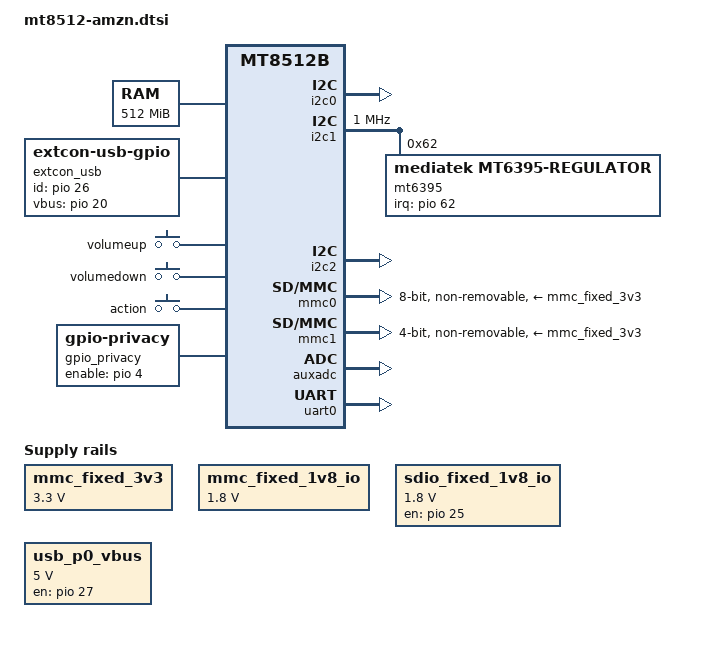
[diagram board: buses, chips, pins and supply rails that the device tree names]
/*
 * Copyright (C) 2019 Amazon.com
 *
 * This program is free software: you can redistribute it and/or modify
 * it under the terms of the GNU General Public License version 2 as
 * published by the Free Software Foundation.
 *
 * This program is distributed in the hope that it will be useful,
 * but WITHOUT ANY WARRANTY; without even the implied warranty of
 * MERCHANTABILITY or FITNESS FOR A PARTICULAR PURPOSE. See the
 * GNU General Public License for more details.
 *
 */

#include "mt8512b.dtsi"
#include <dt-bindings/gpio/gpio.h>
#include <dt-bindings/input/input.h>
#include <dt-bindings/interrupt-controller/irq.h>

/ {
	aliases {
		serial0 = &uart0;
	};

	memory@40000000 {
		device_type = "memory";
		reg = <0 0x40000000 0 0x20000000>;
	};

	firmware {
		optee {
			compatible = "linaro,optee-tz";
			method = "smc";
			clocks = <&infrasys CLK_INFRA_GCPU>,
				 <&topckgen CLK_TOP_GCPU_SEL>,
				 <&topckgen CLK_TOP_ECC_SEL>;
			clock-names = "GCPU",
				      "GCPU_B",
				      "ECC";
		};
	};

	reserved-memory {
		#address-cells = <2>;
		#size-cells = <2>;
		ranges;

		optee-reserved-memory@43030000 {
			compatible = "mediatek,mt8512-optee-reserved-memory";
			no-map;
			reg = <0 0x43030000 0 0x200000>;
		};
		optee-reserved-shmemory@43230000 {
			compatible = "mediatek,mt8512-optee-reserved-shmemory";
			no-map;
			reg = <0 0x43230000 0 0x40000>;
		};
	};

	extcon_usb: extcon_iddig {
		compatible = "linux,extcon-usb-gpio";
		id-gpios = <&pio 26 0>;
		vbus-gpios = <&pio 20 0>;
		pinctrl-names = "default";
		pinctrl-0 = <&usbvbus_det_pins_default>;
	};

	mmc_fixed_3v3: fixedregulator@0 {
		compatible = "regulator-fixed";
		regulator-name = "mmc_power";
		regulator-min-microvolt = <3300000>;
		regulator-max-microvolt = <3300000>;
		enable-active-high;
		regulator-always-on;
	};

	mmc_fixed_1v8_io: fixedregulator@1 {
		compatible = "regulator-fixed";
		regulator-name = "mmc_io";
		regulator-min-microvolt = <1800000>;
		regulator-max-microvolt = <1800000>;
		enable-active-high;
		regulator-always-on;
	};

	sdio_fixed_1v8_io: fixedregulator@2 {
		compatible = "regulator-fixed";
		regulator-name = "sdio_io";
		regulator-min-microvolt = <1800000>;
		regulator-max-microvolt = <1800000>;
		gpio = <&pio 25 0>; /* wifi reset */
		startup-delay-us = <500000>;
		enable-active-high;
	};

	usb_p0_vbus: regulator@0 {
		compatible = "regulator-fixed";
		regulator-name = "vbus";
		regulator-min-microvolt = <5000000>;
		regulator-max-microvolt = <5000000>;
		gpio = <&pio 27 0>;
		enable-active-high;
	};

	gpio_keys: gpio-keys {
		compatible = "gpio-keys";
		pinctrl-names = "default";
		pinctrl-0 = <&gpio_keys_default>;

		volumeup_button: button@0 {
			debounce-interval = <50>;
			wakeup-source;
			label = "volumeup";
			linux,input-type = <0x1>;
			linux,code = <115>;
		};

		volumedown_button: button@1 {
			debounce-interval = <50>;
			wakeup-source;
			label = "volumedown";
			linux,input-type = <0x1>;
			linux,code = <114>;
		};

		action_button: button@2 {
			debounce-interval = <50>;
			wakeup-source;
			label = "action";
			linux,input-type = <0x1>;
			linux,code = <138>;
		};
	};

	/* Based on Silego SLG46R43476/SLG46R43993 Mute Privacy */
	gpio_privacy: gpio-privacy {
		compatible = "gpio-privacy";
		pinctrl-names = "default";
		pinctrl-0 = <&gpio_privacy_default>;
		status="okay";

		/* MUTE_SET - output from SoC - 1=software go into muted state, 0=not muted */
		enable-gpio = <&pio 4 GPIO_ACTIVE_HIGH>;
		enable-gpio-toggle-duration = <50>;

		state_event {
			label = "mute state";
			linux,input-type = <EV_SW>;
			linux,code = <SW_MUTE_DEVICE>;

			/* MUTE_STATUS_OD_L - input to SoC - 0=muted, 1=not muted */
			gpios = <&pio 13 GPIO_ACTIVE_LOW>;
		};

		button_event {
			label = "mute";
			linux,input-type = <EV_KEY>;
			linux,code = <KEY_MUTE>;
			debounce-interval = <50>;
			wakeup-source;

			/* MUTE_BTN_OD_L - input to SoC - 0=button press, 1=button release*/
			gpios = <&pio 43 GPIO_ACTIVE_LOW>;
		};
	};
};

&cpu0 {
	proc-supply = <&mt6395_vproc>;
};

&cpu1 {
	proc-supply = <&mt6395_vproc>;
};

&i2c0 {
	status = "okay";
};

&i2c1 {
	status = "okay";
	clock-frequency = <1000000>;

	mt6395: mt6395@62 {
		compatible = "mediatek,mt6395-regulator";
		mt6395,irq-gpios = <&pio 62 GPIO_ACTIVE_HIGH>;
		reg = <0x62>;
		status = "okay";
	};
};

&i2c2 {
	status = "okay";
};

&pwm {
	pinctrl-names = "default";
	pinctrl-0 = <&pwm_pins_default>;
	status = "disabled";
};

&mmc0 {
	status = "okay";
	pinctrl-names = "default", "state_uhs", "sleep";
	pinctrl-0 = <&mmc0_pins_default>;
	pinctrl-1 = <&mmc0_pins_uhs>;
	pinctrl-2 = <&mmc0_pins_sleep>;
	bus-width = <8>;
	max-frequency = <200000000>;
	cap-mmc-highspeed;
	mmc-hs200-1_8v;
	cap-cqe;
	cap-cqe_dcmd;
	vmmc-supply = <&mmc_fixed_3v3>;
	vqmmc-supply = <&mmc_fixed_1v8_io>;
	assigned-clocks = <&topckgen CLK_TOP_MSDC50_0_SEL>;
	assigned-clock-parents = <&topckgen CLK_TOP_MSDCPLL_D2>;
	non-removable;
	no-sd;
	no-sdio;
};

&mmc1 {
    pinctrl-names = "default", "state_uhs", "state_dat1", "state_eint";
    pinctrl-0 = <&mmc1_pins_default>;
    pinctrl-1 = <&mmc1_pins_uhs>;
    pinctrl-2 = <&mmc1_pins_dat1>;
    pinctrl-3 = <&mmc1_dat1_eint>;
    eint-gpios = <&pio 73 0>;
    status = "okay";
    bus-width = <4>;
    max-frequency = <200000000>;
    cap-sd-highspeed;
    sd-uhs-sdr50;
    sd-uhs-sdr104;
    keep-power-in-suspend;
    enable-sdio-wakeup;
    cap-sdio-irq;
    assigned-clocks = <&topckgen CLK_TOP_MSDC30_1_SEL>;
    assigned-clock-parents = <&topckgen CLK_TOP_MSDCPLL_D2>;
    non-removable;
    vmmc-supply = <&mmc_fixed_3v3>;
    vqmmc-supply = <&sdio_fixed_1v8_io>;
};

&auxadc {
	status = "okay";
};

&uart0 {
	status = "okay";
};

&pio {
	pinctrl-names = "default";

    mmc1_pins_default: mmc1default {
        pins_cmd_dat {
            pinmux = <MT8512_PIN_72_MSDC1_DAT0__FUNC_MSDC1_DAT0>,
                   <MT8512_PIN_73_MSDC1_DAT1__FUNC_MSDC1_DAT1>,
                   <MT8512_PIN_74_MSDC1_DAT2__FUNC_MSDC1_DAT2>,
                   <MT8512_PIN_75_MSDC1_DAT3__FUNC_MSDC1_DAT3>,
                   <MT8512_PIN_70_MSDC1_CMD__FUNC_MSDC1_CMD>;
            input-enable;
            drive-strength = <MTK_DRIVE_6mA>;
            bias-pull-up = <MTK_PUPD_SET_R1R0_01>;
        };

        pins_clk {
            pinmux = <MT8512_PIN_71_MSDC1_CLK__FUNC_MSDC1_CLK>;
            drive-strength = <MTK_DRIVE_6mA>;
            bias-pull-down = <MTK_PUPD_SET_R1R0_10>;
        };
    };

    mmc1_pins_uhs: mmc1@0 {
        pins_cmd_dat {
            pinmux = <MT8512_PIN_72_MSDC1_DAT0__FUNC_MSDC1_DAT0>,
                   <MT8512_PIN_73_MSDC1_DAT1__FUNC_MSDC1_DAT1>,
                   <MT8512_PIN_74_MSDC1_DAT2__FUNC_MSDC1_DAT2>,
                   <MT8512_PIN_75_MSDC1_DAT3__FUNC_MSDC1_DAT3>,
                   <MT8512_PIN_70_MSDC1_CMD__FUNC_MSDC1_CMD>;
            input-enable;
            drive-strength = <MTK_DRIVE_6mA>;
            bias-pull-up = <MTK_PUPD_SET_R1R0_01>;
        };

        pins_clk {
            pinmux = <MT8512_PIN_71_MSDC1_CLK__FUNC_MSDC1_CLK>;
            drive-strength = <MTK_DRIVE_6mA>;
            bias-pull-down = <MTK_PUPD_SET_R1R0_10>;
        };
    };

    mmc1_pins_dat1: mmc1_dat1 {
        pins_dat1 {
            pinmux = <MT8512_PIN_73_MSDC1_DAT1__FUNC_MSDC1_DAT1>;
            input-enable;
            drive-strength = <MTK_DRIVE_6mA>;
            bias-pull-up = <MTK_PUPD_SET_R1R0_10>;
        };
    };

    mmc1_dat1_eint: dat1_eint {
        pins_dat1_eint {
            pinmux = <MT8512_PIN_73_MSDC1_DAT1__FUNC_GPIO73>;
            input-enable;
            bias-pull-up = <MTK_PUPD_SET_R1R0_10>;
        };
    };

	gpio_keys_default: gpiodefault {
	};

	gpio_privacy_default: privacydefault {
	};

	pwm_pins_default: pwmdefault {
		pins_cmd_dat {
			pinmux = <MT8512_PIN_14_GPIO14__FUNC_PWM_6>;
		};
	};

	spi_pins: spi {
		pins_spi {
			pinmux = <MT8512_PIN_112_SPI_CSB__FUNC_SPI_CSB>,
				<MT8512_PIN_113_SPI_CLK__FUNC_SPI_CLK>,
				<MT8512_PIN_114_SPI_MISO__FUNC_SPI_MI>,
				<MT8512_PIN_115_SPI_MOSI__FUNC_SPI_MO>;
			bias-disable;
		};
	};

    nandc_pins_default: nandcdefault {
        pins0 {
            pinmux = <MT8512_PIN_76_MSDC0_DAT7__FUNC_SPI_DAT0_NAND>,
                 <MT8512_PIN_77_MSDC0_DAT6__FUNC_SPI_DAT1_NAND>,
                 <MT8512_PIN_78_MSDC0_DAT5__FUNC_SPI_DAT2_NAND>,
                 <MT8512_PIN_79_MSDC0_DAT4__FUNC_SPI_DAT3_NAND>;
            input-enable;
        };

        pins1 {
            pinmux = <MT8512_PIN_80_MSDC0_RSTB__FUNC_SPI_CSB_NAND>,
                 <MT8512_PIN_82_MSDC0_CLK__FUNC_SPI_CLK_NAND>;
            bias-pull-up;
        };
    };

    nandc_pins_drive_high: nandchigh {
        pins0 {
            pinmux = <MT8512_PIN_76_MSDC0_DAT7__FUNC_SPI_DAT0_NAND>,
                 <MT8512_PIN_77_MSDC0_DAT6__FUNC_SPI_DAT1_NAND>,
                 <MT8512_PIN_78_MSDC0_DAT5__FUNC_SPI_DAT2_NAND>,
                 <MT8512_PIN_79_MSDC0_DAT4__FUNC_SPI_DAT3_NAND>;
            drive-strength = <MTK_DRIVE_8mA>;
            input-enable;
        };

        pins1 {
            pinmux = <MT8512_PIN_80_MSDC0_RSTB__FUNC_SPI_CSB_NAND>,
                 <MT8512_PIN_82_MSDC0_CLK__FUNC_SPI_CLK_NAND>;
            drive-strength = <MTK_DRIVE_8mA>;
            bias-pull-up;
        };
    };

    usb_id_pins_float: usb_iddig_pull_up {
        pins_iddig {
            pinmux = <MT8512_PIN_26_USB_ID__FUNC_USB_IDDIG>;
            bias-pull-up;
        };
    };

    usb_id_pins_ground: usb_iddig_pull_down {
        pins_iddig {
            pinmux = <MT8512_PIN_26_USB_ID__FUNC_USB_IDDIG>;
            bias-pull-down;
        };
    };

	usbvbus_det_pins_default: usbvbus_det_pins_default {
		pins_cmd_dat {
			pinmux = <MT8512_PIN_20_GPIO20__FUNC_GPIO20>;
			input-enable;
			bias-disable;
		};
	};
};

&svs_cpu_little {
	proc-supply = <&mt6395_vproc>;
};

#include "mt6395.dtsi"
